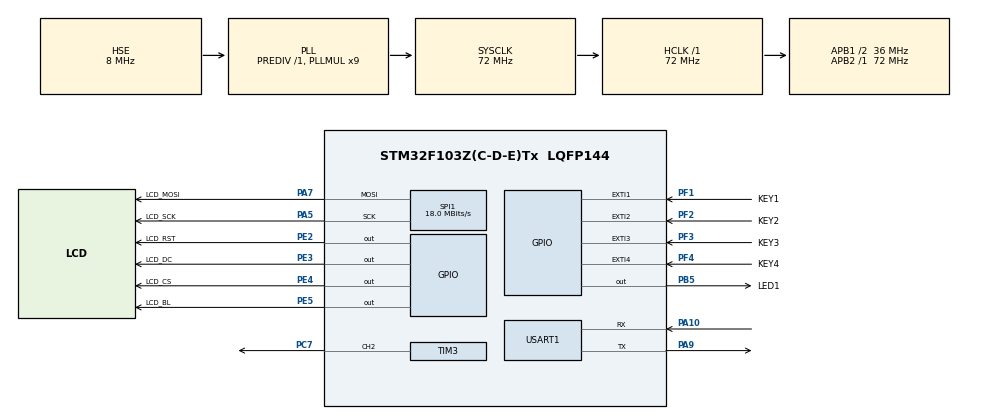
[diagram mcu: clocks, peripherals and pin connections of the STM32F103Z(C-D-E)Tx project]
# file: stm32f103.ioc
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Mcu.Family=STM32F1
Mcu.Name=STM32F103Z(C-D-E)Tx
Mcu.Package=LQFP144
NVIC.EXTI4_IRQn=true\:2\:0\:true\:false\:true\:true\:true\:true
NVIC.PriorityGroup=NVIC_PRIORITYGROUP_4
OSC_IN.Mode=HSE-External-Oscillator
OSC_IN.Signal=RCC_OSC_IN
OSC_OUT.Mode=HSE-External-Oscillator
OSC_OUT.Signal=RCC_OSC_OUT
PA10.Mode=Asynchronous
PA10.Signal=USART1_RX
PA13.Mode=Serial_Wire
PA13.Signal=SYS_JTMS-SWDIO
PA14.Mode=Serial_Wire
PA14.Signal=SYS_JTCK-SWCLK
PA5.GPIO_Label=LCD_SCK
PA5.Mode=TX_Only_Simplex_Unidirect_Master
PA5.Signal=SPI1_SCK
PA7.GPIO_Label=LCD_MOSI
PA7.Mode=TX_Only_Simplex_Unidirect_Master
PA7.Signal=SPI1_MOSI
PA9.Mode=Asynchronous
PA9.Signal=USART1_TX
PB5.GPIO_Label=LED1
PB5.PinState=GPIO_PIN_SET
PB5.Signal=GPIO_Output
PC14-OSC32_IN.Mode=LSE-External-Oscillator
PC14-OSC32_IN.Signal=RCC_OSC32_IN
PC15-OSC32_OUT.Mode=LSE-External-Oscillator
PC15-OSC32_OUT.Signal=RCC_OSC32_OUT
PC7.Signal=S_TIM3_CH2
PE2.GPIO_Label=LCD_RST
PE2.GPIO_PuPd=GPIO_NOPULL
PE2.GPIO_Speed=GPIO_SPEED_FREQ_LOW
PE2.PinState=GPIO_PIN_SET
PE2.Signal=GPIO_Output
PE3.GPIO_Label=LCD_DC
PE3.GPIO_PuPd=GPIO_NOPULL
PE3.GPIO_Speed=GPIO_SPEED_FREQ_HIGH
PE3.PinState=GPIO_PIN_SET
PE3.Signal=GPIO_Output
PE4.GPIO_Label=LCD_CS
PE4.GPIO_PuPd=GPIO_NOPULL
PE4.GPIO_Speed=GPIO_SPEED_FREQ_HIGH
PE4.PinState=GPIO_PIN_SET
PE4.Signal=GPIO_Output
PE5.GPIO_Label=LCD_BL
PE5.GPIO_PuPd=GPIO_NOPULL
PE5.GPIO_Speed=GPIO_SPEED_FREQ_LOW
PE5.PinState=GPIO_PIN_SET
PE5.Signal=GPIO_Output
PF1.GPIO_Label=KEY1
PF1.GPIO_ModeDefaultEXTI=GPIO_MODE_IT_FALLING
PF1.GPIO_PuPd=GPIO_PULLUP
PF1.Signal=GPXTI1
PF2.GPIO_Label=KEY2
PF2.GPIO_ModeDefaultEXTI=GPIO_MODE_IT_FALLING
PF2.GPIO_PuPd=GPIO_PULLUP
PF2.Signal=GPXTI2
PF3.GPIO_Label=KEY3
PF3.GPIO_ModeDefaultEXTI=GPIO_MODE_IT_FALLING
PF3.GPIO_PuPd=GPIO_PULLUP
PF3.Signal=GPXTI3
PF4.GPIO_Label=KEY4
PF4.GPIO_ModeDefaultEXTI=GPIO_MODE_IT_FALLING
PF4.GPIO_PuPd=GPIO_PULLUP
PF4.Signal=GPXTI4
ProjectManager.HeapSize=0x200
ProjectManager.StackSize=0x400
ProjectManager.TargetToolchain=STM32CubeIDE
RCC.AHBFreq_Value=72000000
RCC.APB1CLKDivider=RCC_HCLK_DIV2
RCC.APB1Freq_Value=36000000
RCC.APB1TimFreq_Value=72000000
RCC.APB2Freq_Value=72000000
RCC.APB2TimFreq_Value=72000000
RCC.HCLKFreq_Value=72000000
RCC.PLLMUL=RCC_PLL_MUL9
RCC.PLLSourceVirtual=RCC_PLLSOURCE_HSE
RCC.SYSCLKFreq_VALUE=72000000
RCC.SYSCLKSource=RCC_SYSCLKSOURCE_PLLCLK
RCC.USBFreq_Value=72000000
SH.S_TIM3_CH2.0=TIM3_CH2,PWM Generation2 CH2
SPI1.BaudRatePrescaler=SPI_BAUDRATEPRESCALER_4
SPI1.CLKPolarity=SPI_POLARITY_LOW
SPI1.CalculateBaudRate=18.0 MBits/s
SPI1.Direction=SPI_DIRECTION_2LINES
SPI1.Mode=SPI_MODE_MASTER
SPI1.VirtualType=VM_MASTER
TIM3.Channel-PWM\ Generation2\ CH2=TIM_CHANNEL_2
TIM3.Period=1000
TIM3.Prescaler=300-1
USART1.VirtualMode=VM_ASYNC
VP_RTC_VS_RTC_Activate.Mode=RTC_Enabled
board=custom

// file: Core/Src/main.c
/* USER CODE BEGIN Header */
/**
 ******************************************************************************
 * @file           : main.c
 * @brief          : Main program body
 ******************************************************************************
 * @attention
 *
 * Copyright (c) 2024 STMicroelectronics.
 * All rights reserved.
 *
 * This software is licensed under terms that can be found in the LICENSE file
 * in the root directory of this software component.
 * If no LICENSE file comes with this software, it is provided AS-IS.
 *
 ******************************************************************************
 */
/* USER CODE END Header */
#include "main.h"
#include "rtc.h"
#include "spi.h"
#include "tim.h"
#include "usart.h"
#include "gpio.h"

/* USER CODE BEGIN Includes */
#include <stdio.h>
#include "lcd_init.h"
#include "lcd.h"
#include "pic.h"
#include "key.h"

/* USER CODE END Includes */

void SystemClock_Config(void);

/* USER CODE BEGIN 0 */
char time_data[6] = { 0 }; // 读取DS1302当前时间缓存矩阵//这里如果是unsigned char ,不好做阈值处理
unsigned char KeyNum, TimeSetSelect;

/* USER CODE END 0 */

int main(void)
{
  /* USER CODE BEGIN 1 */
	char rtcTimeString[20];
	char TimingString[20];

//	unsigned char func_index = 1;
//	unsigned char last_index = 14;
//	char set_run1 = 0; // 按键0run状态标识符
//	char set_run2 = 0; // 按键1run状态标识符
//	unsigned char init_time[6] = { 24, 2, 19, 18, 03, 20 };

	unsigned char time_data[3]={18,30,10};
//	u8 i,j;
//	float t=0;
//	uint8_t string[10]={1,2,3};
//	char string[]="新年快乐";

  /* USER CODE END 1 */

  /* MCU Configuration--------------------------------------------------------*/

  /* Reset of all peripherals, Initializes the Flash interface and the Systick. */
  HAL_Init();

  /* Configure the system clock */
  SystemClock_Config();

  /* Initialize all configured peripherals */
  MX_GPIO_Init();
  MX_RTC_Init();
  MX_SPI1_Init();
  MX_TIM3_Init();
  MX_USART1_UART_Init();
  /* USER CODE BEGIN 2 */
	/* LCD initialization */
	LCD_Init();
	LCD_Fill(0, 0, LCD_W, LCD_H, BLACK);

	/* RTC peripheral */
	RTC_TimeTypeDef rtcTime;
	RTC_DateTypeDef rtcDate;

	/* Get the RTC current Time */
	HAL_RTC_GetTime(&hrtc, &rtcTime, RTC_FORMAT_BIN);
	HAL_RTC_GetDate(&hrtc, &rtcDate, RTC_FORMAT_BIN);

	LED1(ON);
	HAL_Delay(300);
	LED1(OFF);
	printf("Hello,My name is STM32F103ZET6!\r\n");

  /* USER CODE END 2 */

  /* Infinite loop */
  /* USER CODE BEGIN WHILE */
	while (1) {
		/* Get the RTC current Time */
		HAL_RTC_GetTime(&hrtc, &rtcTime, RTC_FORMAT_BIN);
		HAL_RTC_GetDate(&hrtc, &rtcDate, RTC_FORMAT_BIN);

		/* Display RTC current Time on LCD */
		sprintf(rtcTimeString, "%u-%02u-%02u %02u:%02u:%02u",
				2000 + rtcDate.Year, rtcDate.Month, rtcDate.Date, rtcTime.Hours,
				rtcTime.Minutes, rtcTime.Seconds);
		LCD_ShowString(5, 10, (uint8_t*) rtcTimeString, WHITE, BLACK, 24, 0);

		LCD_ShowString(5, 50, (uint8_t*) "Timing: ", WHITE, BLACK, 24, 0);
		sprintf(TimingString,"%2d:%2d:%2d",time_data[0],time_data[1],time_data[2]);
		LCD_ShowString(110, 50, (uint8_t*) TimingString, WHITE, BLACK, 24, 0);

#if 0
		while(KEY1_PRES)
		{
			if((1==KEY1_PRES) && (1==KEY2_PRES))
			{
				KEY2_PRES=0;
				//闪烁+显示
				display(time_data[3 - state], 0, state);
				HAL_Delay(50);
				display(time_data[3 - state], 1, state);

				switch (state) //// 设置选择位(时、分、秒)
				{
					case 1:
						if(KEY3_PRES)//加
						{
							KEY3_PRES=0;
							time_data[2]++; // 时间设置位数值加1
							if (time_data[2] > 59)// 秒越界判断
							{
								time_data[2] = 0;
							}
							if(KEY2_PRES)//确认键
							{
								KEY2_PRES=0;
								KEY1_PRES=0;//结束大循环
							}
						}
						else if(KEY4_PRES)//减
						{
							KEY3_PRES=0;
							time_data[2]--; // 时间设置位数值减1
							if (time_data[2] < 0)// 秒越界判断
							{
								time_data[2] = 59;
							}
							if(KEY2_PRES)//确认键
							{
								KEY2_PRES=0;
								KEY1_PRES=0;//结束大循环
							}
						}
						else if(KEY2_PRES)//确认键
						{
							KEY2_PRES=0;
							KEY1_PRES=0;//结束大循环
						}
						break;
					case 2:
						if(KEY3_PRES)//加
						{
							KEY4_PRES=0;
							time_data[1]++; // 时间设置位数值加1
							if (time_data[1] > 59)// 分越界判断
							{
								time_data[1] = 0;
							}
						}
						else if(KEY4_PRES)//减
						{
							KEY4_PRES=0;
							time_data[1]--; // 时间设置位数值减1
							if (time_data[1] < 0)// 分越界判断
							{
								time_data[1] = 59;
							}
						}
						break;
					case 3:
						if(KEY3_PRES)//加
						{
							KEY3_PRES=0;
							time_data[0]++; // 时间设置位数值加1
							if (time_data[0] > 23)// 时越界判断
							{
								time_data[0] = 0;
							}
						}
						else if(KEY4_PRES)//减
						{
							KEY4_PRES=0;
							time_data[0]--; // 时间设置位数值减1
							if (time_data[0] < 0)// 时越界判断
							{
								time_data[0] = 23;
							}
						}
						break;
					default:
						break;
				}
			}
			if(2==KEY1_PRES)
			{
				KEY1_PRES=0;
				//闪烁
				if(1==KEY2_PRES)
				{
					KEY2_PRES=0;
					//打开投喂器
				}
			}
			if(3==KEY1_PRES)
			{
				KEY1_PRES=0;
				//闪烁
				if(1==KEY2_PRES)
				{
					KEY2_PRES=0;
					//打开风扇
				}
			}
		}
#endif
//		DS1302_Readtime();
//		show_time(time_data);

//		LCD_ShowChinese(0,10,(uint8_t *)"新年快乐",RED,WHITE,16,0);
//		LCD_ShowString(0,40,(uint8_t *)"LCD_W:",RED,WHITE,16,0);
//		LCD_ShowIntNum(48,40,(uint16_t )LCD_W,3,RED,WHITE,16);
//		LCD_ShowString(80,40,(uint8_t *)"LCD_H:",RED,WHITE,16,0);
//		LCD_ShowIntNum(128,40,(uint16_t )LCD_H,3,RED,WHITE,16);
//		LCD_ShowString(80,40,(uint8_t *)"LCD_H:",RED,WHITE,16,0);
//		LCD_ShowString(0,70,(uint8_t *)"Increaseing Nun:",RED,WHITE,16,0);
//		LCD_ShowFloatNum1(128,70,t,4,RED,WHITE,16);
//		t+=0.11;
//		for(j=0;j<3;j++)
//		{
//			for(i=0;i<6;i++)
//			{
//				LCD_ShowPicture(40*i,120+j*40,40,40,gImage_1);
//			}
//		}

    /* USER CODE END WHILE */

}
}

void SystemClock_Config(void)
{
  RCC_OscInitTypeDef RCC_OscInitStruct = {0};
  RCC_ClkInitTypeDef RCC_ClkInitStruct = {0};
  RCC_PeriphCLKInitTypeDef PeriphClkInit = {0};

  /** Initializes the RCC Oscillators according to the specified parameters
  * in the RCC_OscInitTypeDef structure.
  */
  RCC_OscInitStruct.OscillatorType = RCC_OSCILLATORTYPE_LSI|RCC_OSCILLATORTYPE_HSE;
  RCC_OscInitStruct.HSEState = RCC_HSE_ON;
  RCC_OscInitStruct.HSEPredivValue = RCC_HSE_PREDIV_DIV1;
  RCC_OscInitStruct.HSIState = RCC_HSI_ON;
  RCC_OscInitStruct.LSIState = RCC_LSI_ON;
  RCC_OscInitStruct.PLL.PLLState = RCC_PLL_ON;
  RCC_OscInitStruct.PLL.PLLSource = RCC_PLLSOURCE_HSE;
  RCC_OscInitStruct.PLL.PLLMUL = RCC_PLL_MUL9;
  if (HAL_RCC_OscConfig(&RCC_OscInitStruct) != HAL_OK)
  {
    Error_Handler();
  }

  /** Initializes the CPU, AHB and APB buses clocks
  */
  RCC_ClkInitStruct.ClockType = RCC_CLOCKTYPE_HCLK|RCC_CLOCKTYPE_SYSCLK
                              |RCC_CLOCKTYPE_PCLK1|RCC_CLOCKTYPE_PCLK2;
  RCC_ClkInitStruct.SYSCLKSource = RCC_SYSCLKSOURCE_PLLCLK;
  RCC_ClkInitStruct.AHBCLKDivider = RCC_SYSCLK_DIV1;
  RCC_ClkInitStruct.APB1CLKDivider = RCC_HCLK_DIV2;
  RCC_ClkInitStruct.APB2CLKDivider = RCC_HCLK_DIV1;

  if (HAL_RCC_ClockConfig(&RCC_ClkInitStruct, FLASH_LATENCY_2) != HAL_OK)
  {
    Error_Handler();
  }
  PeriphClkInit.PeriphClockSelection = RCC_PERIPHCLK_RTC;
  PeriphClkInit.RTCClockSelection = RCC_RTCCLKSOURCE_LSI;
  if (HAL_RCCEx_PeriphCLKConfig(&PeriphClkInit) != HAL_OK)
  {
    Error_Handler();
  }
}

void Error_Handler(void)
{
__disable_irq();
while (1) {
}
}
